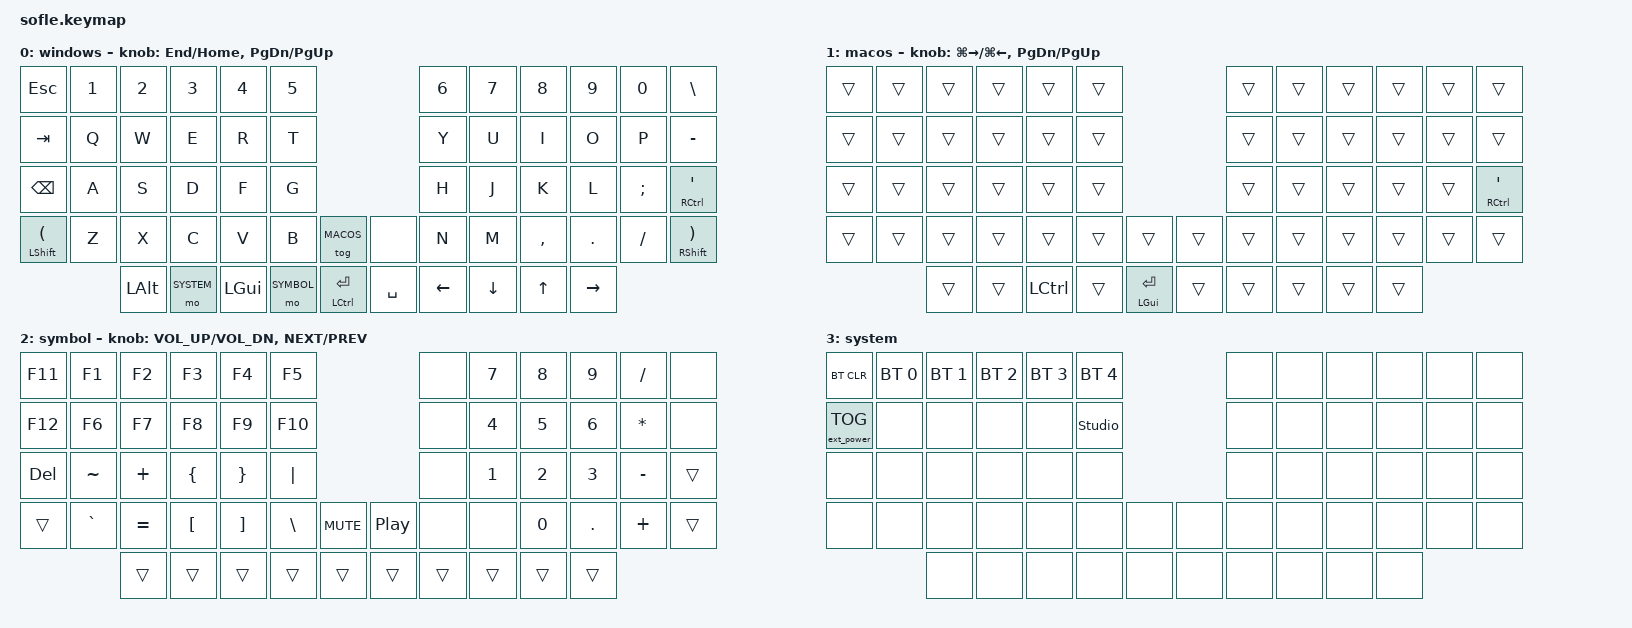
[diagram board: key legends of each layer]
/*
 * Copyright (c) 2020 The ZMK Contributors
 *
 * SPDX-License-Identifier: MIT
 */

// ZMK docs: https://zmk.dev/docs/
// Keymap generator: https://nickcoutsos.github.io/keymap-editor/
// clipboard / sofle

#include <behaviors.dtsi>
#include <dt-bindings/zmk/keys.h>
#include <dt-bindings/zmk/bt.h>
#include <dt-bindings/zmk/ext_power.h>

// layer definitions
#define WIN 0
#define MACOS 1
#define SYMBOL 2
#define SYSTEM 3

/ {
    keymap {
        compatible = "zmk,keymap";

        default_layer {
            display-name = "windows";
            // --------------------------------------------------------------------------------------------------------------------
            // | ESC   |  1  |  2  |   3    |  4   |   5    |                      |  6   |  7    |  8    |   9   |  0  |  BSLH   |
            // | TAB   |  Q  |  W  |   E    |  R   |   T    |                      |  Y   |  U    |  I    |   O   |  P  |  MINUS  |
            // | BSPC  |  A  |  S  |   D    |  F   |   G    |                      |  H   |  J    |  K    |   L   |  ;  | RCTRL ' |
            // | SHIFT |  Z  |  X  |   C    |  V   |   B    |   MACOS   |  |       |  N   |  M    |  ,    |   .   |  /  |  SHIFT  |
            //               | ALT | SYSTEM | LGUI | SYMBOL | LCTRL RET |  | SPACE | LEFT | DOWN  |  UP   | RIGHT |
            // --------------------------------------------------------------------------------------------------------------------
                        bindings = <
            &kp ESC        &kp N1 &kp N2   &kp N3     &kp N4   &kp N5                             &kp N6   &kp N7   &kp N8    &kp N9   &kp N0   &kp BSLH
            &kp TAB        &kp Q  &kp W    &kp E      &kp R    &kp T                              &kp Y    &kp U    &kp I     &kp O    &kp P    &kp MINUS
            &kp BSPC       &kp A  &kp S    &kp D      &kp F    &kp G                              &kp H    &kp J    &kp K     &kp L    &kp SEMI &mt RCTRL SQT
            &mt LSHFT LPAR &kp Z  &kp X    &kp C      &kp V    &kp B      &tog MACOS    &none     &kp N    &kp M    &kp COMMA &kp DOT  &kp FSLH &mt RSHFT RPAR
                                  &kp LALT &mo SYSTEM &kp LGUI &mo SYMBOL &mt LCTRL RET &kp SPACE &kp LEFT &kp DOWN &kp UP    &kp RIGHT
            >;

            sensor-bindings = <&inc_dec_kp END HOME &inc_dec_kp PG_DN PG_UP>;
        };

        macos_layer {
            // --------------------------------------------------------------------------------------------------------------
            // |      |      |      |      |       |      |                    |      |      |      |      |      |         |
            // |      |      |      |      |       |      |                    |      |      |      |      |      |         |
            // |      |      |      |      |       |      |                    |      |      |      |      |      | RCTRL ' |
            // |      |      |      |      |       |      |   WIN    |  |      |      |      |      |      |      |         |
            //               |      |      | LCTRL |      | LGUI RET |  |      |      |      |      |      |
            // --------------------------------------------------------------------------------------------------------------
                        display-name = "macos";
                        bindings = <
            &trans &trans &trans &trans &trans    &trans                     &trans &trans &trans &trans &trans &trans
            &trans &trans &trans &trans &trans    &trans                     &trans &trans &trans &trans &trans &trans
            &trans &trans &trans &trans &trans    &trans                     &trans &trans &trans &trans &trans &mt RCTRL SQT
            &trans &trans &trans &trans &trans    &trans &trans       &trans &trans &trans &trans &trans &trans &trans
                          &trans &trans &kp LCTRL &trans &mt LGUI RET &trans &trans &trans &trans &trans
            >;

            sensor-bindings = <&inc_dec_kp LG(RIGHT) LG(LEFT) &inc_dec_kp PG_DN PG_UP>;
        };

        symbol_layer {
            display-name = "symbol";
            // ----------------------------------------------------------------------------------------
            // | F11 | F1 | F2 | F3 | F4 | F5  |                |      |  7  |  8  |  9  |  /  |      |
            // | F12 | F6 | F7 | F8 | F9 | F10 |                |      |  4  |  5  |  6  |  *  |      |
            // | DEL | ~  | +  | {  |  } |  |  |                |      |  1  |  2  |  3  |  -  |      |
            // |     | `  | =  | [  |  ] |  \  |      |  |      |      |     |  0  |  .  |  +  |      |
            //            |    |    |    |     |      |  |      |      |     |     |     |
            // ----------------------------------------------------------------------------------------
                        bindings = <
            &kp F11 &kp F1    &kp F2    &kp F3   &kp F4   &kp F5                               &none  &kp N7 &kp N8 &kp N9  &kp FSLH  &none
            &kp F12 &kp F6    &kp F7    &kp F8   &kp F9   &kp F10                              &none  &kp N4 &kp N5 &kp N6  &kp STAR  &none
            &kp DEL &kp TILDE &kp PLUS  &kp LBRC &kp RBRC &kp PIPE                             &none  &kp N1 &kp N2 &kp N3  &kp MINUS &trans
            &trans  &kp GRAVE &kp EQUAL &kp LBKT &kp RBKT &kp BSLH &kp C_MUTE &kp C_PLAY_PAUSE &none  &none  &kp N0 &kp DOT &kp PLUS  &trans
                              &trans    &trans   &trans   &trans   &trans     &trans           &trans &trans &trans &trans
            >;

            sensor-bindings = <&inc_dec_kp C_VOL_UP C_VOL_DN &inc_dec_kp C_NEXT C_PREV>;
        };

        system_layer {
            // ------------------------------------------------------------------------------------------------------
            // | BTCLR  | BT1 | BT2 | BT3 | BT4 |     BT5     |           |      |      |      |      |      |      |
            // | EXTPWR |     |     |     |     | Stdio Unlck |           |      |      |      |      |      |      |
            // |        |     |     |     |     |             |           |      |      |      |      |      |      |
            // |        |     |     |     |     |             |    | |    |      |      |      |      |      |      |
            //                |     |     |     |             |    | |    |      |      |      |      |
            // ------------------------------------------------------------------------------------------------------
                        display-name = "system";
                        bindings = <
            &bt BT_CLR        &bt BT_SEL 0  &bt BT_SEL 1 &bt BT_SEL 2 &bt BT_SEL 3 &bt BT_SEL 4                   &none &none &none &none &none &none
            &ext_power EP_TOG &none         &none        &none        &none        &studio_unlock                 &none &none &none &none &none &none
            &none             &none         &none        &none        &none        &none                          &none &none &none &none &none &none
            &none             &none         &none        &none        &none        &none          &none &none     &none &none &none &none &none &none
                                            &none        &none        &none        &none          &none &none     &none &none &none &none
            >;
        };

    };
};
